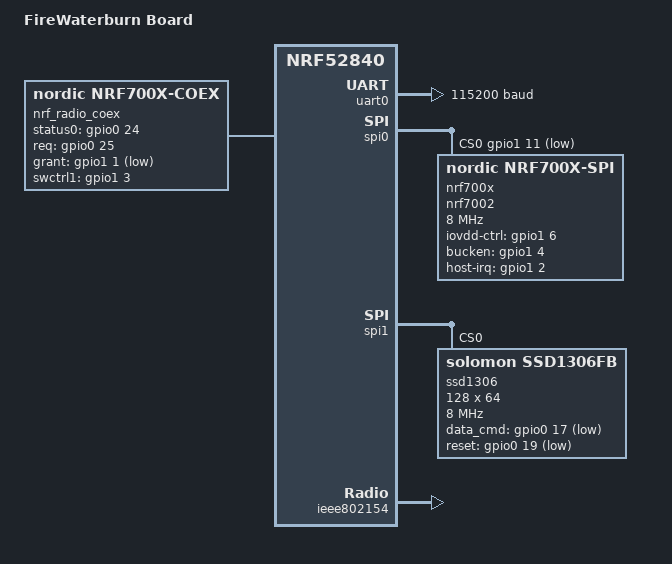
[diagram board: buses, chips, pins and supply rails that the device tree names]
// Copyright (c) 2023 Nordic Semiconductor ASA
// SPDX-License-Identifier: Apache-2.0

/dts-v1/;
#include <nordic/nrf52840_qiaa.dtsi>
#include <freq.h>
#include "fire_board-pinctrl.dtsi"
/ {
	model = "FireWaterburn Board";
	compatible = "fire-gmbh,fire-board";

	chosen {
		zephyr,console = &uart0;
		zephyr,shell-uart = &uart0;
		zephyr,uart-mcumgr = &uart0;
		zephyr,bt-mon-uart = &uart0;
		zephyr,bt-c2h-uart = &uart0;
		zephyr,sram = &sram0;
		zephyr,flash = &flash0;
		zephyr,code-partition = &slot0_partition;
		zephyr,ieee802154 = &ieee802154;
	};
	
	/*leds {
		compatible = "gpio-leds";
		led0: led_0 {
			gpios = <&gpio1 7 GPIO_ACTIVE_HIGH>;
			label = "Red LED 0";
		};
		led1: led_1 {
			gpios = <&gpio1 6 GPIO_ACTIVE_HIGH>;
			label = "Red LED 1";
		};
		led2: led_2 {
			gpios = <&gpio1 5 GPIO_ACTIVE_HIGH>;
			label = "Red LED 2";
		};
	};

    fans {
        compatible = "pwm-leds";
        fan0: pwm_0 {
			pwms = <&pwm0 0 PWM_HZ(600) PWM_POLARITY_NORMAL>;
		};
    };
	
	buttons {
		compatible = "gpio-keys";
		button0: button_0 {
			gpios = <&gpio1 12 GPIO_ACTIVE_LOW>;
			label = "Pd Alert";
		};
	};
	
	zephyr,user {
        io-channels = <&adc 0>, <&adc 1>, <&adc 2>, <&adc 3>;
    };

	
	aliases {
		led0 = &led0;
		led1 = &led1;
		led2 = &led2;
		pdalert = &button0;
        fan = &fan0;
	};
	*/
	
	nrf_radio_coex: nrf7002-coex {
		status = "okay";
		compatible = "nordic,nrf700x-coex";
		status0-gpios = <&gpio0 24 GPIO_ACTIVE_HIGH>;  
		req-gpios = <&gpio0 25 GPIO_ACTIVE_HIGH>;
		grant-gpios = <&gpio1 1 (GPIO_PULL_DOWN | GPIO_ACTIVE_LOW)>;
		swctrl1-gpios = <&gpio1 3 GPIO_ACTIVE_HIGH>;
	};
};

&uart0 {
	compatible = "nordic,nrf-uarte";
	status = "okay";
	current-speed = <115200>;
	pinctrl-0 = <&uart0_default>;
	pinctrl-1 = <&uart0_sleep>;
	pinctrl-names = "default", "sleep";
};

&gpiote {
	status = "okay";
};

&gpio0 {
	status = "okay";
};

&gpio1 {
	status = "okay";
};

&spi0 {
	status = "okay";
	cs-gpios = <&gpio1 11 GPIO_ACTIVE_LOW>; /* D10 */
	pinctrl-0 = <&spi0_default>;
	pinctrl-1 = <&spi0_sleep>;
	pinctrl-names = "default", "sleep";
	nrf700x: nrf7002@0 {
		compatible = "nordic,nrf700x-spi";
		status = "okay";
		reg = <0>;
		spi-max-frequency = <DT_FREQ_M(8)>;
		
		iovdd-ctrl-gpios = <&gpio1 6 (GPIO_ACTIVE_HIGH | GPIO_PULL_DOWN)>;
		bucken-gpios = <&gpio1 4 (GPIO_ACTIVE_HIGH | GPIO_PULL_DOWN)>;
		host-irq-gpios = <&gpio1 2 GPIO_ACTIVE_HIGH>;
	};
};

&spi1 {
    status = "okay";
    pinctrl-0 = <&spi2_default>;
	pinctrl-1 = <&spi2_sleep>;
    pinctrl-names = "default", "sleep";

    ssd1306: ssd1306@0 {
		compatible = "solomon,ssd1306fb";
		reg = <0>;
		spi-max-frequency = <DT_FREQ_M(8)>;
		width = <128>;
		height = <64>;
		segment-offset = <0>;
		page-offset = <0>;
		display-offset = <0>;
		multiplex-ratio = <63>;
		segment-remap;
		/*com-invdir;*/
		prechargep = <0x22>;
		data_cmd-gpios = <&gpio0 17 GPIO_ACTIVE_LOW>;
		reset-gpios = <&gpio0 19 GPIO_ACTIVE_LOW>;
	};
};

&ieee802154 {
	status = "okay";
};


/*&i2c0 {
	compatible = "nordic,nrf-twim";
	status = "okay";
	pinctrl-0 = <&i2c0_default>;
	pinctrl-1 = <&i2c0_sleep>;
	pinctrl-names = "default", "sleep";
};

&adc {
	status = "okay";

    #address-cells = <1>;
    #size-cells = <0>;

    channel@0 {
        reg = <0>;
        zephyr,gain = "ADC_GAIN_1_4";
        zephyr,reference = "ADC_REF_VDD_1_4";
        zephyr,acquisition-time = <ADC_ACQ_TIME_DEFAULT>;
        zephyr,input-positive = <NRF_SAADC_AIN0>;
        zephyr,resolution = <12>;
    };

    channel@1 {
        reg = <1>;
        zephyr,gain = "ADC_GAIN_1_4";
        zephyr,reference = "ADC_REF_VDD_1_4";
        zephyr,acquisition-time = <ADC_ACQ_TIME_DEFAULT>;
        zephyr,input-positive = <NRF_SAADC_AIN5>;
        zephyr,resolution = <12>;
    };

    channel@2 {
        reg = <2>;
        zephyr,gain = "ADC_GAIN_1_4";
        zephyr,reference = "ADC_REF_VDD_1_4";
        zephyr,acquisition-time = <ADC_ACQ_TIME_DEFAULT>;
        zephyr,input-positive = <NRF_SAADC_AIN1>;
        zephyr,resolution = <12>;
    };

    channel@3 {
        reg = <3>;
        zephyr,gain = "ADC_GAIN_1_5";
        zephyr,reference = "ADC_REF_INTERNAL";
        zephyr,acquisition-time = <ADC_ACQ_TIME_DEFAULT>;
        zephyr,input-positive = <NRF_SAADC_AIN6>;
        zephyr,resolution = <12>;
    };
};

&pwm0 {
    status = "okay";
    pinctrl-0 = <&pwm0_default>;
    pinctrl-1 = <&pwm0_sleep>;
    pinctrl-names = "default", "sleep";
};

zephyr_udc0: &usbd {
	compatible = "nordic,nrf-usbd";
	status = "okay";
};
*/
&flash0 {
	partitions {
		compatible = "fixed-partitions";
		#address-cells = <1>;
		#size-cells = <1>;

		boot_partition: partition@0 {
			label = "mcuboot";
			reg = <0x0 0xc000>;
		};
		slot0_partition: partition@c000 {
			label = "image-0";
			reg = <0xc000 0x72000>;
		};
		slot1_partition: partition@7e000 {
			label = "image-1";
			reg = <0x7e000 0x72000>;
		};
		scratch_partition: partition@f0000 {
			label = "image-scratch";
			reg = <0xf0000 0xa000>;
		};
		storage_partition: partition@fa000 {
			label = "storage";
			reg = <0xfa000 0x6000>;
		};
	};
};

